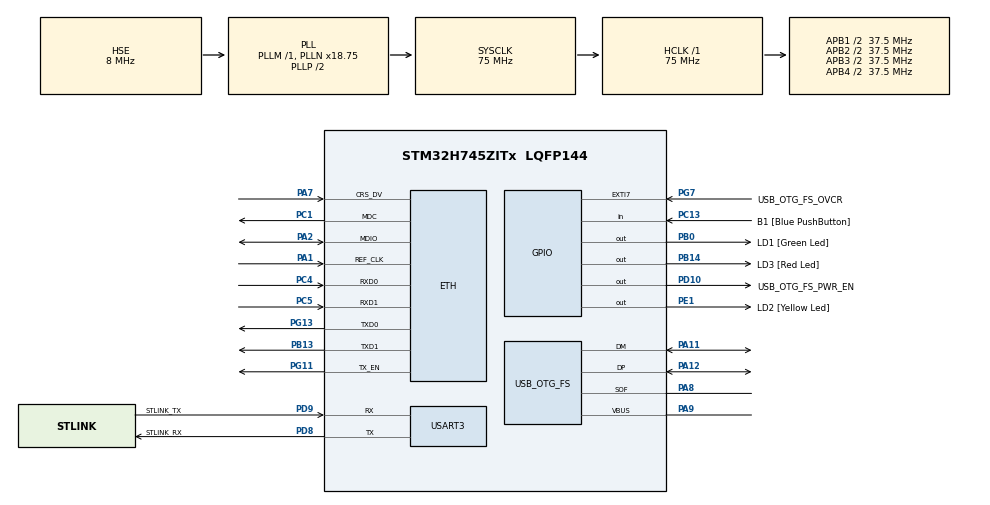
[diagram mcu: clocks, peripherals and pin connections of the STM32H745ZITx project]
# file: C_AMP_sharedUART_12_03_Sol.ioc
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CortexM4.IPs=FATFS_M4\:I,FREERTOS_M4\:I,IWDG2\:I,RCC,WWDG2\:I,DMA,BDMA,MDMA,NVIC2\:I,USART3,ETH,DEBUG,USB_DEVICE_M4\:I,USB_HOST_M4\:I,PDM2PCM_M4\:I,PWR,RESMGR_UTILITY,SYS_M4\:I,CORTEX_M4\:I,OPENAMP_M4\:I,VREFBUF,GPIO
CortexM4.Pins=PE1
CortexM7.IPs=FATFS_M7\:I,FREERTOS_M7\:I,IWDG1\:I,RCC\:I,WWDG1\:I,DMA\:I,BDMA\:I,MDMA\:I,NVIC1\:I,SYS\:I,USART3\:I,USB_OTG_FS\:I,ETH\:I,CORTEX_M7\:I,DEBUG\:I,USB_DEVICE_M7\:I,USB_HOST_M7\:I,PDM2PCM_M7\:I,PWR\:I,RESMGR_UTILITY\:I,OPENAMP_M7\:I,VREFBUF\:I,GPIO\:I
CortexM7.Pins=PB0
ETH.MediaInterface=HAL_ETH_RMII_MODE
Mcu.Family=STM32H7
Mcu.Name=STM32H745ZITx
Mcu.Package=LQFP144
NVIC1.PriorityGroup=NVIC_PRIORITYGROUP_4
NVIC2.PriorityGroup=NVIC_PRIORITYGROUP_4
PA1.Mode=RMII
PA1.PinAttribute=CortexM7
PA1.Signal=ETH_REF_CLK
PA11.Mode=Device_Only
PA11.PinAttribute=CortexM7
PA11.Signal=USB_OTG_FS_DM
PA12.Mode=Device_Only
PA12.PinAttribute=CortexM7
PA12.Signal=USB_OTG_FS_DP
PA2.Mode=RMII
PA2.PinAttribute=CortexM7
PA2.Signal=ETH_MDIO
PA7.Mode=RMII
PA7.PinAttribute=CortexM7
PA7.Signal=ETH_CRS_DV
PA8.Mode=Activate_SOF_FS
PA8.PinAttribute=CortexM7
PA8.Signal=USB_OTG_FS_SOF
PA9.Mode=Activate_VBUS
PA9.PinAttribute=CortexM7
PA9.Signal=USB_OTG_FS_VBUS
PB0.GPIO_Label=LD1 [Green Led]
PB0.PinAttribute=CortexM7
PB0.Signal=GPIO_Output
PB13.Mode=RMII
PB13.PinAttribute=CortexM7
PB13.Signal=ETH_TXD1
PB14.GPIO_Label=LD3 [Red Led]
PB14.PinAttribute=Free
PB14.Signal=GPIO_Output
PC1.Mode=RMII
PC1.PinAttribute=CortexM7
PC1.Signal=ETH_MDC
PC13.GPIO_Label=B1 [Blue PushButton]
PC13.PinAttribute=Free
PC13.Signal=GPIO_Input
PC14-OSC32_IN\ (OSC32_IN).Mode=LSE-External-Oscillator
PC14-OSC32_IN\ (OSC32_IN).PinAttribute=CortexM7
PC14-OSC32_IN\ (OSC32_IN).Signal=RCC_OSC32_IN
PC15-OSC32_OUT\ (OSC32_OUT).Mode=LSE-External-Oscillator
PC15-OSC32_OUT\ (OSC32_OUT).PinAttribute=CortexM7
PC15-OSC32_OUT\ (OSC32_OUT).Signal=RCC_OSC32_OUT
PC4.Mode=RMII
PC4.PinAttribute=CortexM7
PC4.Signal=ETH_RXD0
PC5.Mode=RMII
PC5.PinAttribute=CortexM7
PC5.Signal=ETH_RXD1
PD10.GPIO_Label=USB_OTG_FS_PWR_EN
PD10.PinAttribute=Free
PD10.Signal=GPIO_Output
PD8.GPIO_Label=STLINK_RX
PD8.Mode=Asynchronous
PD8.PinAttribute=CortexM7
PD8.Signal=USART3_TX
PD9.GPIO_Label=STLINK_TX
PD9.Mode=Asynchronous
PD9.PinAttribute=CortexM7
PD9.Signal=USART3_RX
PE1.GPIO_Label=LD2 [Yellow Led]
PE1.PinAttribute=CortexM4
PE1.Signal=GPIO_Output
PG11.Mode=RMII
PG11.PinAttribute=CortexM7
PG11.Signal=ETH_TX_EN
PG13.Mode=RMII
PG13.PinAttribute=CortexM7
PG13.Signal=ETH_TXD0
PG7.GPIO_Label=USB_OTG_FS_OVCR
PG7.PinAttribute=Free
PG7.Signal=GPXTI7
PH0-OSC_IN\ (PH0).Mode=HSE-External-Clock-Source
PH0-OSC_IN\ (PH0).PinAttribute=CortexM7
PH0-OSC_IN\ (PH0).Signal=RCC_OSC_IN
PH1-OSC_OUT\ (PH1).PinAttribute=CortexM7
PH1-OSC_OUT\ (PH1).Signal=RCC_OSC_OUT
ProjectManager.HeapSize=M4-0x200,M7-0x200
ProjectManager.StackSize=M4-0x400,M7-0x400
ProjectManager.TargetToolchain=STM32CubeIDE
RCC.ADCFreq_Value=16125000
RCC.APB1Freq_Value=37500000
RCC.APB2Freq_Value=37500000
RCC.APB3Freq_Value=37500000
RCC.APB4Freq_Value=37500000
RCC.CortexFreq_Value=75000000
RCC.D1PPRE=RCC_APB3_DIV2
RCC.D2PPRE1=RCC_APB1_DIV2
RCC.D2PPRE2=RCC_APB2_DIV2
RCC.D3PPRE=RCC_APB4_DIV2
RCC.DIVM1=1
RCC.DIVM3=1
RCC.DIVN1=18
RCC.DIVN3=18
RCC.DIVQ3=3
RCC.HCLKFreq_Value=75000000
RCC.HSE_VALUE=8000000
RCC.PLL2FRACN=0
RCC.PLL3FRACN=6144
RCC.PLLFRACN=6144
RCC.SYSCLKFreq_VALUE=75000000
RCC.SYSCLKSource=RCC_SYSCLKSOURCE_PLLCLK
RCC.SupplySource=PWR_DIRECT_SMPS_SUPPLY
RCC.USBCLockSelection=RCC_USBCLKSOURCE_PLL3
RCC.USBFreq_Value=50000000
USART3.VirtualMode-Asynchronous=VM_ASYNC
USB_OTG_FS.VirtualMode=Device_Only
VP_SYS_M4_VS_Systick.Mode=SysTick
board=NUCLEO-H745ZI-Q

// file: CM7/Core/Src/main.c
/* USER CODE BEGIN Header */
/**
  ******************************************************************************
  * @file           : main.c
  * @brief          : Main program body
  ******************************************************************************
  * @attention
  *
  * Copyright (c) 2023 STMicroelectronics.
  * All rights reserved.
  *
  * This software is licensed under terms that can be found in the LICENSE file
  * in the root directory of this software component.
  * If no LICENSE file comes with this software, it is provided AS-IS.
  *
  ******************************************************************************
  */
/* USER CODE END Header */
#include "main.h"
#include "string.h"

/* USER CODE BEGIN Includes */
#include "NoneBlockSystemTickDelay.h"
/* USER CODE END Includes */

/* USER CODE BEGIN PD */

#ifndef HSEM_ID_0
#define HSEM_ID_0 (0U) /* HW semaphore 0*/
#define HSEM_ID_1 (1U) /* HW semaphore 1*/
#define HSEM_ID_2 (2U) /* HW semaphore 2*/
#endif

/* USER CODE END PD */

#if defined ( __ICCARM__ ) /*!< IAR Compiler */
#pragma location=0x30000000
ETH_DMADescTypeDef  DMARxDscrTab[ETH_RX_DESC_CNT]; /* Ethernet Rx DMA Descriptors */
#pragma location=0x30000200
ETH_DMADescTypeDef  DMATxDscrTab[ETH_TX_DESC_CNT]; /* Ethernet Tx DMA Descriptors */

#elif defined ( __CC_ARM )  /* MDK ARM Compiler */

__attribute__((at(0x30000000))) ETH_DMADescTypeDef  DMARxDscrTab[ETH_RX_DESC_CNT]; /* Ethernet Rx DMA Descriptors */
__attribute__((at(0x30000200))) ETH_DMADescTypeDef  DMATxDscrTab[ETH_TX_DESC_CNT]; /* Ethernet Tx DMA Descriptors */

#elif defined ( __GNUC__ ) /* GNU Compiler */
ETH_DMADescTypeDef DMARxDscrTab[ETH_RX_DESC_CNT] __attribute__((section(".RxDecripSection"))); /* Ethernet Rx DMA Descriptors */
ETH_DMADescTypeDef DMATxDscrTab[ETH_TX_DESC_CNT] __attribute__((section(".TxDecripSection")));   /* Ethernet Tx DMA Descriptors */

#endif

ETH_TxPacketConfig TxConfig;

ETH_HandleTypeDef heth;

UART_HandleTypeDef huart3;

PCD_HandleTypeDef hpcd_USB_OTG_FS;

void SystemClock_Config(void);
static void MX_GPIO_Init(void);
static void MX_ETH_Init(void);
static void MX_USART3_UART_Init(void);
static void MX_USB_OTG_FS_PCD_Init(void);

/* USER CODE BEGIN 0 */
uint8_t State_LED1 = 0;
uint32_t DelayLED1=0;
uint32_t TimerTickstartLED1=0;
uint32_t DelayUART=0;
uint32_t TimerTickstartUART=0;

int __io_putchar(int ch)
{
    uint8_t c[1];
    c[0] = ch & 0x00FF;
    HAL_UART_Transmit(&huart3, &*c, 1, HAL_MAX_DELAY);
    return ch;
}

int _write(int file,char *ptr, int len)
{
    HAL_UART_Transmit(&huart3, (uint8_t *)ptr, len, HAL_MAX_DELAY);
    return len;
}
/* USER CODE END 0 */

int main(void)
{
/* USER CODE BEGIN Boot_Mode_Sequence_0 */
  int32_t timeout;
/* USER CODE END Boot_Mode_Sequence_0 */

/* USER CODE BEGIN Boot_Mode_Sequence_1 */
  /* Wait until CPU2 boots and enters in stop mode or timeout*/
  timeout = 0xFFFF;
  while((__HAL_RCC_GET_FLAG(RCC_FLAG_D2CKRDY) != RESET) && (timeout-- > 0));
  if ( timeout < 0 )
  {
  Error_Handler();
  }
/* USER CODE END Boot_Mode_Sequence_1 */
  /* MCU Configuration--------------------------------------------------------*/

  /* Reset of all peripherals, Initializes the Flash interface and the Systick. */
  HAL_Init();

  /* Configure the system clock */
  SystemClock_Config();
/* USER CODE BEGIN Boot_Mode_Sequence_2 */
/* When system initialization is finished, Cortex-M7 will release Cortex-M4 by means of
HSEM notification */
/*HW semaphore Clock enable*/
__HAL_RCC_HSEM_CLK_ENABLE();
/*Take HSEM */
HAL_HSEM_FastTake(HSEM_ID_0);
/*Release HSEM in order to notify the CPU2(CM4)*/
HAL_HSEM_Release(HSEM_ID_0,0);
/* wait until CPU2 wakes up from stop mode */
timeout = 0xFFFF;
while((__HAL_RCC_GET_FLAG(RCC_FLAG_D2CKRDY) == RESET) && (timeout-- > 0));
if ( timeout < 0 )
{
Error_Handler();
}
/* USER CODE END Boot_Mode_Sequence_2 */

  /* Initialize all configured peripherals */
  MX_GPIO_Init();
  MX_ETH_Init();
  MX_USART3_UART_Init();
  MX_USB_OTG_FS_PCD_Init();

  /* Infinite loop */
  while (1)
  {

    /* USER CODE BEGIN 3 */

	//blocking solution
	//  HAL_HSEM_Take(HSEM_ID_1, 0);
	//  HAL_GPIO_WritePin(LD1_GPIO_Port, LD1_Pin, 0);

	//  for(uint8_t i=0;i<5;i++)
	 // {
	//  HAL_Delay(100);
	//  	  if(!HAL_HSEM_IsSemTaken(HSEM_ID_2))
	//  	  {
	//	  	  HAL_HSEM_Take(HSEM_ID_2, 0);
	//	  	  printf("Merry Christmas from CM7\n");
	//	  	  HAL_HSEM_Release(HSEM_ID_2,0);
	//  	  }
	//  }

	//  HAL_HSEM_Release(HSEM_ID_1,0);
	//  HAL_GPIO_WritePin(LD1_GPIO_Port, LD1_Pin, 1);

	//  for(uint8_t i=0;i<5;i++)
	//  {
	//  HAL_Delay(100);
	//  	  if(!HAL_HSEM_IsSemTaken(HSEM_ID_2))
	//  	  {
	//	  	  HAL_HSEM_Take(HSEM_ID_2, 0);
	//	  	  printf("Hohoho Santa C. from CM7\n");
	//	  	  HAL_HSEM_Release(HSEM_ID_2,0);
	//  	  }
	//  }

	  if(NoneBlockSystemTickDelay__DelayNoneBlockingCheckExpiration(TimerTickstartLED1, DelayLED1)){
			  if(State_LED1){
			  	  HAL_HSEM_Take(HSEM_ID_1, 0);
				  State_LED1=0;
				  HAL_GPIO_WritePin(LD1_GPIO_Port, LD1_Pin, State_LED1);
			  }
			  else	{
				  HAL_HSEM_Release(HSEM_ID_1,0);
				  State_LED1=1;
				  HAL_GPIO_WritePin(LD1_GPIO_Port, LD1_Pin, State_LED1);
			  }
			  DelayLED1=500;
			  NoneBlockSystemTickDelay__DelayNoneBlockingInit(&TimerTickstartLED1,&DelayLED1);
	  }

	  if(NoneBlockSystemTickDelay__DelayNoneBlockingCheckExpiration(TimerTickstartUART, DelayUART)){
		  if(!HAL_HSEM_IsSemTaken(HSEM_ID_2))
		  	  {
			  	  HAL_HSEM_Take(HSEM_ID_2, 0);
			  	  printf("Merry Christmas from CM7\n");
			  	  HAL_HSEM_Release(HSEM_ID_2,0);
			  	  DelayUART=100;
				  NoneBlockSystemTickDelay__DelayNoneBlockingInit(&TimerTickstartUART,&DelayUART);
		  	  }
		  else {
			  DelayUART=0;
			  NoneBlockSystemTickDelay__DelayNoneBlockingInit(&TimerTickstartUART,&DelayUART);
		  }
	  }
  }
  /* USER CODE END 3 */
}

void SystemClock_Config(void)
{
  RCC_OscInitTypeDef RCC_OscInitStruct = {0};
  RCC_ClkInitTypeDef RCC_ClkInitStruct = {0};

  /** Supply configuration update enable
  */
  HAL_PWREx_ConfigSupply(PWR_DIRECT_SMPS_SUPPLY);

  /** Configure the main internal regulator output voltage
  */
  __HAL_PWR_VOLTAGESCALING_CONFIG(PWR_REGULATOR_VOLTAGE_SCALE3);

  while(!__HAL_PWR_GET_FLAG(PWR_FLAG_VOSRDY)) {}

  /** Initializes the RCC Oscillators according to the specified parameters
  * in the RCC_OscInitTypeDef structure.
  */
  RCC_OscInitStruct.OscillatorType = RCC_OSCILLATORTYPE_HSE;
  RCC_OscInitStruct.HSEState = RCC_HSE_BYPASS;
  RCC_OscInitStruct.PLL.PLLState = RCC_PLL_ON;
  RCC_OscInitStruct.PLL.PLLSource = RCC_PLLSOURCE_HSE;
  RCC_OscInitStruct.PLL.PLLM = 1;
  RCC_OscInitStruct.PLL.PLLN = 18;
  RCC_OscInitStruct.PLL.PLLP = 2;
  RCC_OscInitStruct.PLL.PLLQ = 2;
  RCC_OscInitStruct.PLL.PLLR = 2;
  RCC_OscInitStruct.PLL.PLLRGE = RCC_PLL1VCIRANGE_3;
  RCC_OscInitStruct.PLL.PLLVCOSEL = RCC_PLL1VCOMEDIUM;
  RCC_OscInitStruct.PLL.PLLFRACN = 6144;
  if (HAL_RCC_OscConfig(&RCC_OscInitStruct) != HAL_OK)
  {
    Error_Handler();
  }

  /** Initializes the CPU, AHB and APB buses clocks
  */
  RCC_ClkInitStruct.ClockType = RCC_CLOCKTYPE_HCLK|RCC_CLOCKTYPE_SYSCLK
                              |RCC_CLOCKTYPE_PCLK1|RCC_CLOCKTYPE_PCLK2
                              |RCC_CLOCKTYPE_D3PCLK1|RCC_CLOCKTYPE_D1PCLK1;
  RCC_ClkInitStruct.SYSCLKSource = RCC_SYSCLKSOURCE_PLLCLK;
  RCC_ClkInitStruct.SYSCLKDivider = RCC_SYSCLK_DIV1;
  RCC_ClkInitStruct.AHBCLKDivider = RCC_HCLK_DIV1;
  RCC_ClkInitStruct.APB3CLKDivider = RCC_APB3_DIV2;
  RCC_ClkInitStruct.APB1CLKDivider = RCC_APB1_DIV2;
  RCC_ClkInitStruct.APB2CLKDivider = RCC_APB2_DIV2;
  RCC_ClkInitStruct.APB4CLKDivider = RCC_APB4_DIV2;

  if (HAL_RCC_ClockConfig(&RCC_ClkInitStruct, FLASH_LATENCY_1) != HAL_OK)
  {
    Error_Handler();
  }
}

static void MX_ETH_Init(void)
{

   static uint8_t MACAddr[6];

  heth.Instance = ETH;
  MACAddr[0] = 0x00;
  MACAddr[1] = 0x80;
  MACAddr[2] = 0xE1;
  MACAddr[3] = 0x00;
  MACAddr[4] = 0x00;
  MACAddr[5] = 0x00;
  heth.Init.MACAddr = &MACAddr[0];
  heth.Init.MediaInterface = HAL_ETH_RMII_MODE;
  heth.Init.TxDesc = DMATxDscrTab;
  heth.Init.RxDesc = DMARxDscrTab;
  heth.Init.RxBuffLen = 1524;

  if (HAL_ETH_Init(&heth) != HAL_OK)
  {
    Error_Handler();
  }

  memset(&TxConfig, 0 , sizeof(ETH_TxPacketConfig));
  TxConfig.Attributes = ETH_TX_PACKETS_FEATURES_CSUM | ETH_TX_PACKETS_FEATURES_CRCPAD;
  TxConfig.ChecksumCtrl = ETH_CHECKSUM_IPHDR_PAYLOAD_INSERT_PHDR_CALC;
  TxConfig.CRCPadCtrl = ETH_CRC_PAD_INSERT;

}

static void MX_USART3_UART_Init(void)
{

  huart3.Instance = USART3;
  huart3.Init.BaudRate = 9600;
  huart3.Init.WordLength = UART_WORDLENGTH_8B;
  huart3.Init.StopBits = UART_STOPBITS_1;
  huart3.Init.Parity = UART_PARITY_NONE;
  huart3.Init.Mode = UART_MODE_TX_RX;
  huart3.Init.HwFlowCtl = UART_HWCONTROL_NONE;
  huart3.Init.OverSampling = UART_OVERSAMPLING_16;
  huart3.Init.OneBitSampling = UART_ONE_BIT_SAMPLE_DISABLE;
  huart3.Init.ClockPrescaler = UART_PRESCALER_DIV1;
  huart3.AdvancedInit.AdvFeatureInit = UART_ADVFEATURE_NO_INIT;
  if (HAL_UART_Init(&huart3) != HAL_OK)
  {
    Error_Handler();
  }
  if (HAL_UARTEx_SetTxFifoThreshold(&huart3, UART_TXFIFO_THRESHOLD_1_8) != HAL_OK)
  {
    Error_Handler();
  }
  if (HAL_UARTEx_SetRxFifoThreshold(&huart3, UART_RXFIFO_THRESHOLD_1_8) != HAL_OK)
  {
    Error_Handler();
  }
  if (HAL_UARTEx_DisableFifoMode(&huart3) != HAL_OK)
  {
    Error_Handler();
  }

}

static void MX_USB_OTG_FS_PCD_Init(void)
{

  hpcd_USB_OTG_FS.Instance = USB_OTG_FS;
  hpcd_USB_OTG_FS.Init.dev_endpoints = 9;
  hpcd_USB_OTG_FS.Init.speed = PCD_SPEED_FULL;
  hpcd_USB_OTG_FS.Init.dma_enable = DISABLE;
  hpcd_USB_OTG_FS.Init.phy_itface = PCD_PHY_EMBEDDED;
  hpcd_USB_OTG_FS.Init.Sof_enable = DISABLE;
  hpcd_USB_OTG_FS.Init.low_power_enable = DISABLE;
  hpcd_USB_OTG_FS.Init.lpm_enable = DISABLE;
  hpcd_USB_OTG_FS.Init.battery_charging_enable = ENABLE;
  hpcd_USB_OTG_FS.Init.vbus_sensing_enable = ENABLE;
  hpcd_USB_OTG_FS.Init.use_dedicated_ep1 = DISABLE;
  if (HAL_PCD_Init(&hpcd_USB_OTG_FS) != HAL_OK)
  {
    Error_Handler();
  }

}

static void MX_GPIO_Init(void)
{
  GPIO_InitTypeDef GPIO_InitStruct = {0};

  /* GPIO Ports Clock Enable */
  __HAL_RCC_GPIOC_CLK_ENABLE();
  __HAL_RCC_GPIOH_CLK_ENABLE();
  __HAL_RCC_GPIOA_CLK_ENABLE();
  __HAL_RCC_GPIOB_CLK_ENABLE();
  __HAL_RCC_GPIOD_CLK_ENABLE();
  __HAL_RCC_GPIOG_CLK_ENABLE();

  /*Configure GPIO pin Output Level */
  HAL_GPIO_WritePin(LD1_GPIO_Port, LD1_Pin, GPIO_PIN_RESET);

  /*Configure GPIO pin : LD1_Pin */
  GPIO_InitStruct.Pin = LD1_Pin;
  GPIO_InitStruct.Mode = GPIO_MODE_OUTPUT_PP;
  GPIO_InitStruct.Pull = GPIO_NOPULL;
  GPIO_InitStruct.Speed = GPIO_SPEED_FREQ_LOW;
  HAL_GPIO_Init(LD1_GPIO_Port, &GPIO_InitStruct);

}

void Error_Handler(void)
{
  __disable_irq();
  while (1)
  {
  }
}
